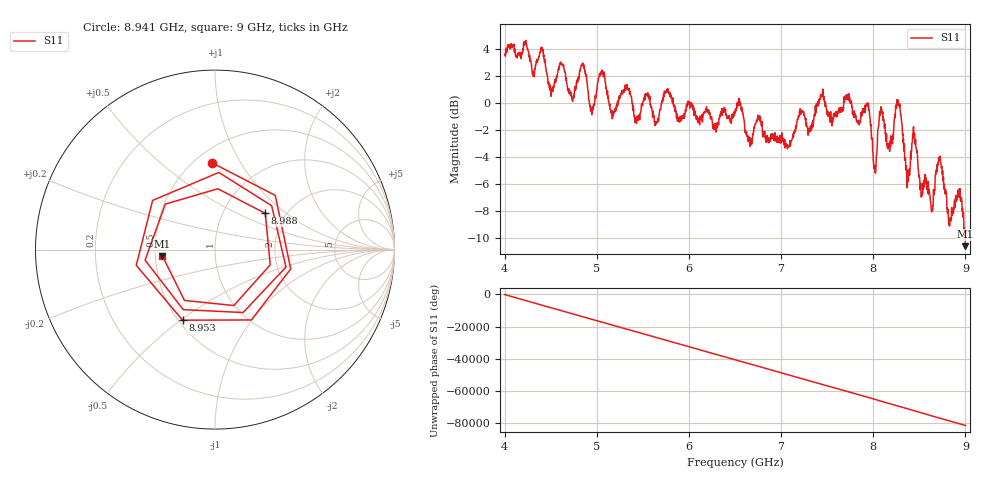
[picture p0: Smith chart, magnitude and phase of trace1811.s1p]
! Created with skrf 1.8.0 (http://scikit-rf.org).
# Hz S RI R 50.0
!freq ReS11 ImS11
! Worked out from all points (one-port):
!   1601 points, 4 GHz to 9 GHz, reference 50 ohm
!   lowest |S11| = -10.6 dB at 9 GHz (marker M1), VSWR 1.84, Z = 27.3 - j2.09 ohm
!   |S11| at or under -10 dB: 8.998167 GHz to end of sweep
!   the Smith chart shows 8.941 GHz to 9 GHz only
!   S11 on the Smith chart (normalised r, x): 8.941 GHz: 0.61, +0.76; 8.953 GHz: 0.53, -0.51; 8.988 GHz: 1.58, +0.72; 9 GHz: 0.55, -0.04
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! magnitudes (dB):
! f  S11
! 4 GHz  3.6
! 4.403 GHz  4.0
! 4.509 GHz  0.8
! 4.625 GHz  2.8
! 4.731 GHz  0.3
! 4.853 GHz  2.8
! 4.947 GHz  -0.8
! 5.053 GHz  2.4
! 5.169 GHz  -1.2
! 5.25 GHz  0.5
! 5.875 GHz  -1.3
! 6.5 GHz  -0.7
! 7.125 GHz  -2.6
! 7.75 GHz  0.2
! 7.941 GHz  0.0
! 8.019 GHz  -5.1
! 8.078 GHz  -0.6
! 8.178 GHz  -3.6
! 8.269 GHz  0.0
! 8.375 GHz  -5.3
! 8.444 GHz  -2.3
! 8.625 GHz  -7.4
! 8.712 GHz  -4.1
! 8.825 GHz  -8.9
! 8.941 GHz  -6.3
! 8.953 GHz  -7.3
! 8.988 GHz  -9.2
! 9 GHz  -10.6
